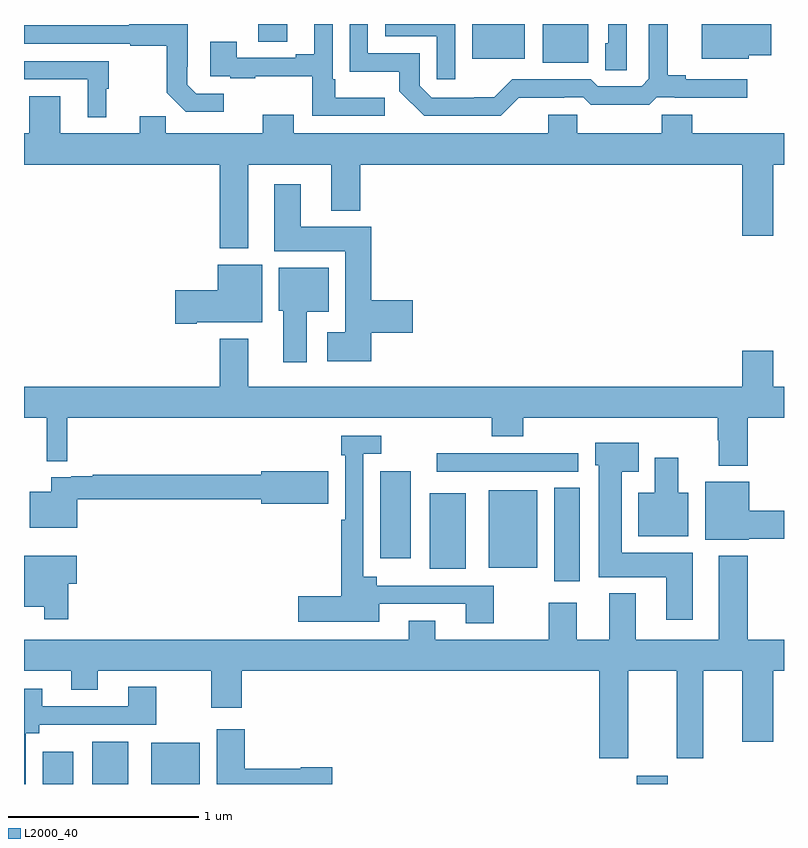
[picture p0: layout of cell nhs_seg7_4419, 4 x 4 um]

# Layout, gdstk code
import gdstk
lib = gdstk.Library(unit=1e-6, precision=1e-09)
def R(c, l, rs):  # rectangles x0, y0, x1, y1
    for r in rs: c.add(gdstk.rectangle(r[:2], r[2:], *l))
def P(c, l, *ps):  # polygons
    for p in ps: c.add(gdstk.Polygon(p, *l))
L2000_40 = (2000, 40)

nhs_seg7_4419 = lib.new_cell('nhs_seg7_4419')
R(nhs_seg7_4419, L2000_40, [(389.099,1020,389.26,1020.169), (389.36,1020,389.548,1020.223), (389.669,1020,389.926,1020.217), (392.225,1020,392.389,1020.043), (391.79,1021.068,391.924,1021.559), (391.136,1021.133,391.324,1021.531), (391.445,1021.139,391.702,1021.546), (390.875,1021.188,391.036,1021.645), (391.173,1021.644,391.918,1021.74), (391.73,1023.797,391.969,1024), (391.358,1023.818,391.636,1024), (390.233,1023.907,390.385,1024)])
P(nhs_seg7_4419, L2000_40, [(392.172,1024),(392.076,1024),(392.076,1023.9),(392.06,1023.9),(392.06,1023.757),(392.172,1023.757)],
  [(391.269,1024),(390.9,1024),(390.9,1023.936),(391.173,1023.936),(391.173,1023.708),(391.269,1023.708)],
  [(390.052,1023.633),(389.907,1023.633),(389.86,1023.68),(389.86,1023.775),(389.862,1023.775),(389.862,1024),(389.555,1024),(389.555,1023.993),(389,1023.993),(389,1023.897),(389.559,1023.897),(389.559,1023.885),(389.751,1023.885),(389.751,1023.639),(389.851,1023.539),(390.052,1023.539)],
  [(391.604,1023.611),(391.844,1023.611),(391.844,1023.615),(391.944,1023.615),(391.984,1023.576),(392.291,1023.576),(392.331,1023.615),(392.425,1023.615),(392.425,1023.611),(392.806,1023.611),(392.806,1023.708),(392.482,1023.708),(392.482,1023.731),(392.387,1023.731),(392.387,1024),(392.289,1024),(392.289,1023.711),(392.25,1023.672),(392.019,1023.672),(391.983,1023.708),(391.569,1023.708),(391.475,1023.614),(391.37,1023.614),(391.37,1023.612),(391.146,1023.612),(391.083,1023.675),(391.083,1023.846),(390.81,1023.846),(390.81,1024),(390.714,1024),(390.714,1023.749),(390.976,1023.749),(390.976,1023.647),(391.106,1023.516),(391.509,1023.516)],
  [(390.898,1023.613),(390.637,1023.613),(390.637,1023.709),(390.624,1023.709),(390.624,1024),(390.527,1024),(390.527,1023.841),(390.431,1023.841),(390.431,1023.822),(390.121,1023.822),(390.121,1023.907),(389.981,1023.907),(389.981,1023.726),(390.085,1023.726),(390.085,1023.714),(390.217,1023.714),(390.217,1023.725),(390.516,1023.725),(390.516,1023.516),(390.898,1023.516)],
  [(392.814,1023.836),(392.932,1023.836),(392.932,1024),(392.567,1024),(392.567,1023.818),(392.814,1023.818)],
  [(389.434,1023.66),(389.446,1023.66),(389.446,1023.804),(389,1023.804),(389,1023.708),(389.336,1023.708),(389.336,1023.509),(389.434,1023.509)],
  [(390.421,1023.523),(390.257,1023.523),(390.257,1023.424),(389.747,1023.424),(389.747,1023.515),(389.609,1023.515),(389.609,1023.424),(389.191,1023.424),(389.191,1023.619),(389.027,1023.619),(389.027,1023.424),(389,1023.424),(389,1023.26),(390.029,1023.26),(390.029,1022.819),(390.181,1022.819),(390.181,1023.26),(390.617,1023.26),(390.617,1023.017),(390.77,1023.017),(390.77,1023.26),(392.78,1023.26),(392.78,1022.886),(392.944,1022.886),(392.944,1023.26),(393,1023.26),(393,1023.424),(392.516,1023.424),(392.516,1023.522),(392.356,1023.522),(392.356,1023.424),(391.911,1023.424),(391.911,1023.522),(391.76,1023.522),(391.76,1023.424),(390.421,1023.424)],
  [(390.827,1022.375),(391.045,1022.375),(391.045,1022.546),(390.827,1022.546),(390.827,1022.932),(390.457,1022.932),(390.457,1023.157),(390.317,1023.157),(390.317,1022.804),(390.692,1022.804),(390.692,1022.377),(390.597,1022.377),(390.597,1022.225),(390.827,1022.225)],
  [(389.908,1022.429),(390.253,1022.429),(390.253,1022.734),(390.02,1022.734),(390.02,1022.6),(389.796,1022.6),(389.796,1022.422),(389.908,1022.422)],
  [(390.487,1022.486),(390.604,1022.486),(390.604,1022.716),(390.341,1022.716),(390.341,1022.49),(390.365,1022.49),(390.365,1022.22),(390.487,1022.22)],
  [(392.81,1021.928),(393,1021.928),(393,1022.092),(392.944,1022.092),(392.944,1022.281),(392.78,1022.281),(392.78,1022.092),(390.181,1022.092),(390.181,1022.344),(390.029,1022.344),(390.029,1022.092),(389,1022.092),(389,1021.928),(389.12,1021.928),(389.12,1021.699),(389.228,1021.699),(389.228,1021.928),(391.463,1021.928),(391.463,1021.829),(391.628,1021.829),(391.628,1021.928),(392.65,1021.928),(392.65,1021.808),(392.657,1021.808),(392.657,1021.676),(392.81,1021.676)],
  [(391.473,1021.044),(390.856,1021.044),(390.856,1021.09),(390.786,1021.09),(390.786,1021.737),(390.88,1021.737),(390.88,1021.833),(390.67,1021.833),(390.67,1021.73),(390.69,1021.73),(390.69,1021.391),(390.67,1021.391),(390.67,1020.989),(390.444,1020.989),(390.444,1020.854),(390.871,1020.854),(390.871,1020.948),(391.325,1020.948),(391.325,1020.846),(391.473,1020.846)],
  [(392.521,1021.216),(392.146,1021.216),(392.146,1021.643),(392.236,1021.643),(392.236,1021.795),(392.006,1021.795),(392.006,1021.677),(392.024,1021.677),(392.024,1021.088),(392.381,1021.088),(392.381,1020.864),(392.521,1020.864)],
  [(392.497,1021.534),(392.443,1021.534),(392.443,1021.717),(392.321,1021.717),(392.321,1021.534),(392.234,1021.534),(392.234,1021.304),(392.497,1021.304)],
  [(389.279,1021.498),(390.248,1021.498),(390.248,1021.475),(390.601,1021.475),(390.601,1021.645),(390.248,1021.645),(390.248,1021.627),(389.362,1021.627),(389.362,1021.62),(389.248,1021.62),(389.248,1021.614),(389.144,1021.614),(389.144,1021.537),(389.03,1021.537),(389.03,1021.349),(389.279,1021.349)],
  [(392.814,1021.292),(393,1021.292),(393,1021.439),(392.818,1021.439),(392.818,1021.591),(392.585,1021.591),(392.585,1021.286),(392.814,1021.286)],
  [(392.179,1020.596),(392.435,1020.596),(392.435,1020.135),(392.575,1020.135),(392.575,1020.596),(392.78,1020.596),(392.78,1020.222),(392.944,1020.222),(392.944,1020.596),(393,1020.596),(393,1020.76),(392.81,1020.76),(392.81,1021.201),(392.657,1021.201),(392.657,1020.76),(392.221,1020.76),(392.221,1021.003),(392.081,1021.003),(392.081,1020.76),(391.909,1020.76),(391.909,1020.955),(391.762,1020.955),(391.762,1020.76),(391.165,1020.76),(391.165,1020.859),(391.025,1020.859),(391.025,1020.76),(389,1020.76),(389,1020.596),(389.249,1020.596),(389.249,1020.497),(389.389,1020.497),(389.389,1020.596),(389.986,1020.596),(389.986,1020.402),(390.146,1020.402),(390.146,1020.596),(392.027,1020.596),(392.027,1020.135),(392.179,1020.135)],
  [(389.234,1021.054),(389.278,1021.054),(389.278,1021.201),(389,1021.201),(389,1020.932),(389.106,1020.932),(389.106,1020.867),(389.234,1020.867)],
  [(389.01,1020.266),(389.08,1020.266),(389.08,1020.312),(389.697,1020.312),(389.697,1020.511),(389.549,1020.511),(389.549,1020.408),(389.095,1020.408),(389.095,1020.502),(389,1020.502),(389,1020),(389.01,1020)],
  [(390.623,1020.088),(390.456,1020.088),(390.456,1020.08),(390.161,1020.08),(390.161,1020.289),(390.014,1020.289),(390.014,1020),(390.623,1020)])

lib.write_gds('nhs_seg7_4419.gds')
